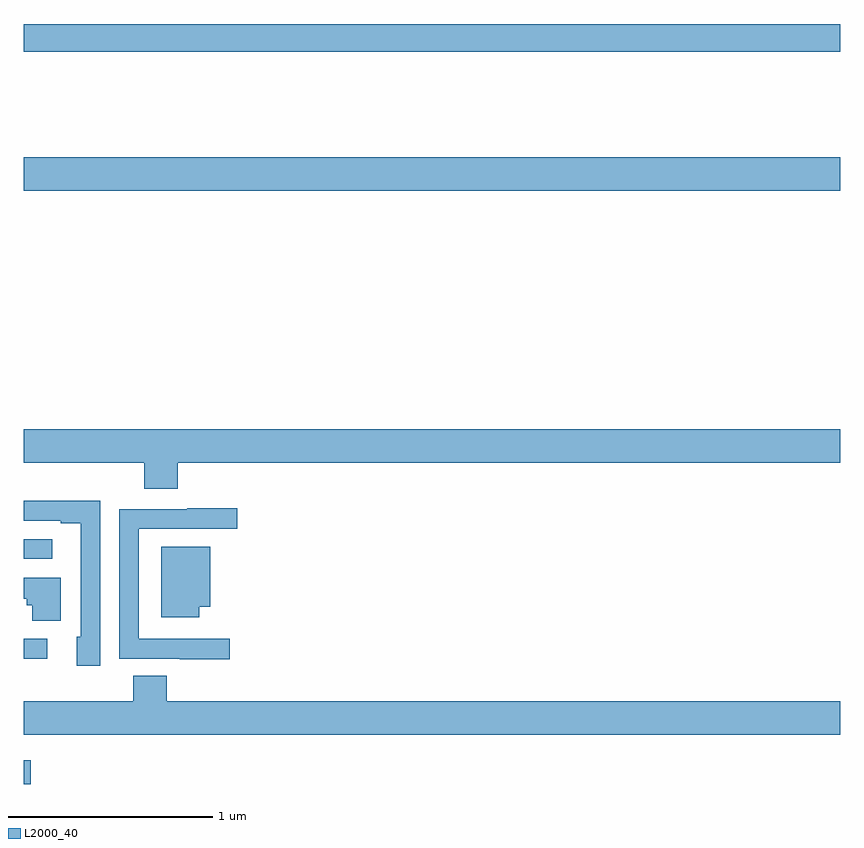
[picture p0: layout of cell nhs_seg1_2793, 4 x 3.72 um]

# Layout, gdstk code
import gdstk
lib = gdstk.Library(unit=1e-6, precision=1e-09)
def R(c, l, rs):  # rectangles x0, y0, x1, y1
    for r in rs: c.add(gdstk.rectangle(r[:2], r[2:], *l))
def P(c, l, *ps):  # polygons
    for p in ps: c.add(gdstk.Polygon(p, *l))
L2000_40 = (2000, 40)

nhs_seg1_2793 = lib.new_cell('nhs_seg1_2793')
R(nhs_seg1_2793, L2000_40, [(263,510.199,263.035,510.316), (263,510.812,263.116,510.909), (263,511.302,263.14,511.398), (263,513.104,267,513.268), (263,513.784,267,513.92)])
P(nhs_seg1_2793, L2000_40, [(263.756,511.772),(267,511.772),(267,511.936),(263,511.936),(263,511.772),(263.591,511.772),(263.591,511.644),(263.756,511.644)],
  [(263.376,511.586),(263,511.586),(263,511.488),(263.183,511.488),(263.183,511.476),(263.28,511.476),(263.28,510.921),(263.261,510.921),(263.261,510.777),(263.376,510.777)],
  [(264.01,510.909),(263.565,510.909),(263.565,511.449),(264.046,511.449),(264.046,511.549),(263.801,511.549),(263.801,511.545),(263.469,511.545),(263.469,510.813),(263.765,510.813),(263.765,510.809),(264.01,510.809)],
  [(263.861,511.067),(263.914,511.067),(263.914,511.36),(263.675,511.36),(263.675,511.016),(263.861,511.016)],
  [(263.182,511.21),(263,511.21),(263,511.106),(263.017,511.106),(263.017,511.074),(263.042,511.074),(263.042,510.998),(263.182,510.998)],
  [(267,510.604),(263.702,510.604),(263.702,510.728),(263.537,510.728),(263.537,510.604),(263,510.604),(263,510.44),(267,510.44)])

lib.write_gds('nhs_seg1_2793.gds')
